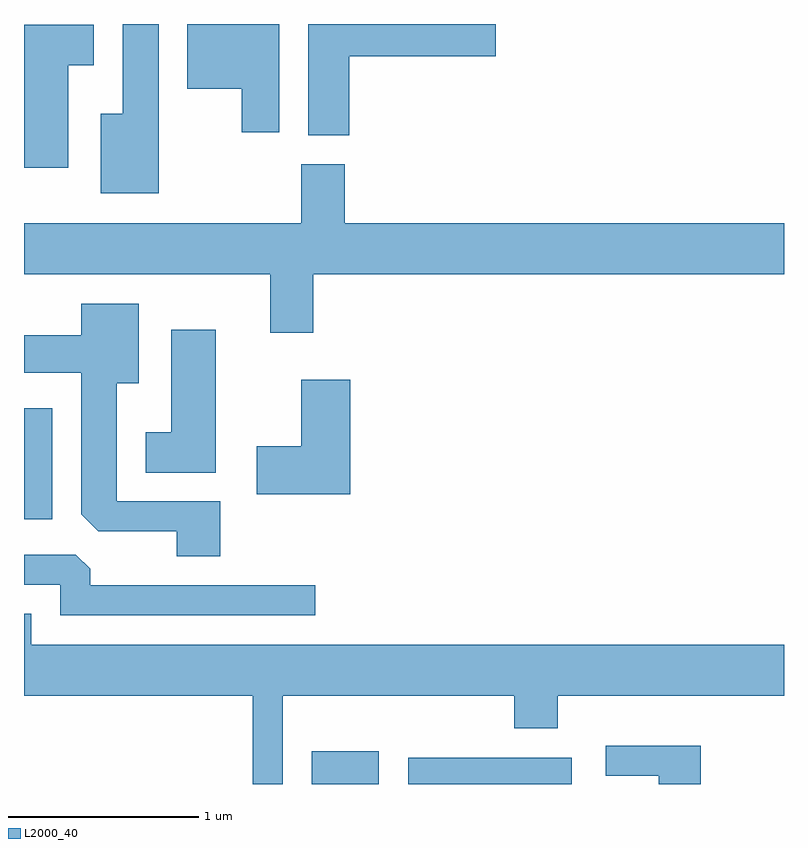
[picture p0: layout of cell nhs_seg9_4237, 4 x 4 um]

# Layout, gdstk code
import gdstk
lib = gdstk.Library(unit=1e-6, precision=1e-09)
def R(c, l, rs):  # rectangles x0, y0, x1, y1
    for r in rs: c.add(gdstk.rectangle(r[:2], r[2:], *l))
def P(c, l, *ps):  # polygons
    for p in ps: c.add(gdstk.Polygon(p, *l))
L2000_40 = (2000, 40)

nhs_seg9_4237 = lib.new_cell('nhs_seg9_4237')
R(nhs_seg9_4237, L2000_40, [(311.126,2022.432,311.479,2022.604), (311.633,2022.432,312.494,2022.569), (309.611,2023.826,309.759,2024.409)])
P(nhs_seg9_4237, L2000_40, [(311.324,2026.261),(312.094,2026.261),(312.094,2026.432),(311.106,2026.432),(311.106,2025.846),(311.324,2025.846)],
  [(310.319,2026.432),(310.131,2026.432),(310.131,2025.959),(310.016,2025.959),(310.016,2025.541),(310.319,2025.541)],
  [(310.954,2026.432),(310.471,2026.432),(310.471,2026.091),(310.756,2026.091),(310.756,2025.861),(310.954,2025.861)],
  [(309.844,2026.216),(309.979,2026.216),(309.979,2026.429),(309.611,2026.429),(309.611,2025.676),(309.844,2025.676)],
  [(311.134,2025.116),(313.611,2025.116),(313.611,2025.384),(311.299,2025.384),(311.299,2025.694),(311.071,2025.694),(311.071,2025.384),(309.611,2025.384),(309.611,2025.116),(310.906,2025.116),(310.906,2024.806),(311.134,2024.806)],
  [(310.644,2023.919),(310.099,2023.919),(310.099,2024.541),(310.214,2024.541),(310.214,2024.959),(309.911,2024.959),(309.911,2024.794),(309.611,2024.794),(309.611,2024.596),(309.911,2024.596),(309.911,2023.852),(310.002,2023.761),(310.416,2023.761),(310.416,2023.631),(310.644,2023.631)],
  [(310.619,2024.824),(310.386,2024.824),(310.386,2024.284),(310.251,2024.284),(310.251,2024.071),(310.619,2024.071)],
  [(311.329,2024.559),(311.071,2024.559),(311.071,2024.209),(310.836,2024.209),(310.836,2023.956),(311.329,2023.956)],
  [(311.143,2023.479),(309.959,2023.479),(309.959,2023.564),(309.884,2023.639),(309.611,2023.639),(309.611,2023.481),(309.801,2023.481),(309.801,2023.321),(311.143,2023.321)],
  [(310.974,2022.896),(312.191,2022.896),(312.191,2022.726),(312.419,2022.726),(312.419,2022.896),(313.611,2022.896),(313.611,2023.164),(309.649,2023.164),(309.649,2023.329),(309.611,2023.329),(309.611,2022.896),(310.816,2022.896),(310.816,2022.432),(310.974,2022.432)],
  [(313.174,2022.634),(312.673,2022.634),(312.673,2022.476),(312.951,2022.476),(312.951,2022.432),(313.174,2022.432)])

lib.write_gds('nhs_seg9_4237.gds')
